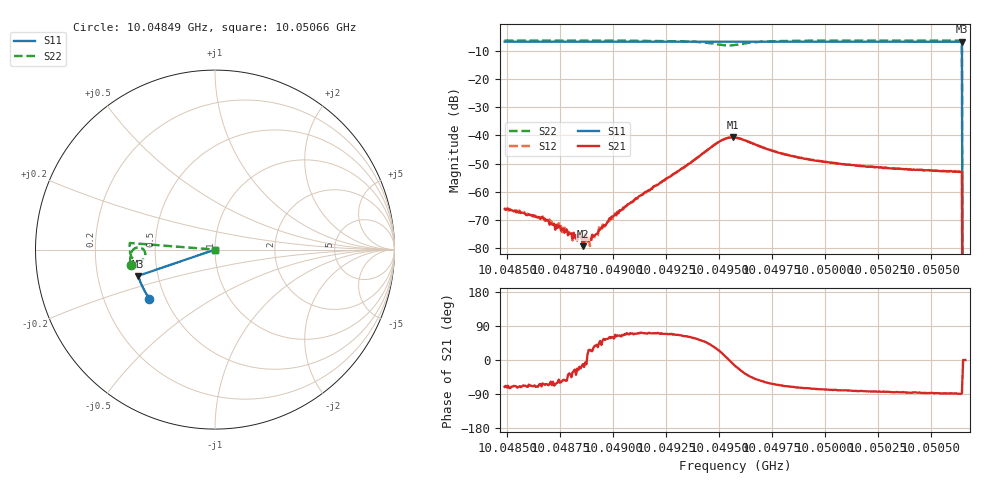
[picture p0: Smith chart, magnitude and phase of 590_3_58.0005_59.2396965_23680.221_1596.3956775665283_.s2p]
#  HZ  S  RI  R  50.00
! Rohde & Schwarz Vector Network Analyzer
! Rohde-Schwarz,ZNB20-2Port,1311601062101988,3.16
! Created: UTC 3/21/2024, 1:16:48 AM
! freq[Hz]  re:S11  im:S11  re:S21  im:S21  re:S12  im:S12  re:S22  im:S22
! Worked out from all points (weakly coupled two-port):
!   401 points, 10.04849 GHz to 10.05066 GHz, reference 50 ohm
!   highest |S21| = -40.75 dB at 10.04956 GHz (marker M1); lowest = -79.2 dB at 10.04886 GHz (marker M2)
!   lowest |S11| = -6.9 dB at 10.05065 GHz (marker M3), VSWR 2.65, Z = 19.3 - j7.1 ohm
!   |S11| at or under -10 dB: 10.05065 GHz to end of sweep
!   |S22| runs from - to -6.4 dB; largest |S21 - S12| = 0.00068
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1.0048486e10  -0.3654 -0.2729  0.000163 -0.00047  0.000165 -0.000476  -0.4692 -0.0864
1.0048617e10  -0.3704 -0.2656  0.000135 -0.000351  0.000184 -0.000331  -0.4704 -0.0767
1.0048693e10  -0.3732 -0.2616  0.000124 -0.000287  0.000187 -0.000261  -0.471 -0.0711
1.0048775e10  -0.376 -0.257  0.000119 -0.000168  0.000122 -0.000166  -0.4715 -0.0647
1.0048819e10  -0.3778 -0.2546  0.00014 -6.58e-05  0.000143 -0.000106  -0.4717 -0.0612
1.004884e10  -0.3785 -0.2533  0.000155 -5.03e-05  0.000151 -3.91e-05  -0.4718 -0.0593
1.0048851e10  -0.3789 -0.2527  0.000149 -4.24e-05  0.000145 -5.52e-05  -0.4719 -0.0585
1.0048857e10  -0.3789 -0.2524  0.000107 -2.02e-05  0.000115 -1.56e-05  -0.4718 -0.058
1.00489e10  -0.3805 -0.25  0.00016 6.88e-05  0.000145 6.38e-05  -0.4721 -0.0544
1.0048933e10  -0.3816 -0.2481  0.000149 0.000152  0.000169 0.000163  -0.472 -0.0517
1.0048944e10  -0.382 -0.2476  0.000179 0.000148  0.000153 0.000156  -0.4721 -0.0506
1.004902e10  -0.3846 -0.2433  0.000191 0.000404  0.000164 0.000371  -0.4718 -0.0437
1.0049216e10  -0.3909 -0.2319  0.000463 0.0013  0.000407 0.00133  -0.4688 -0.0222
1.0049499e10  -0.3991 -0.2151  0.00693 0.00323  0.00674 0.00365  -0.4044 0.00546
1.0049564e10  -0.4007 -0.2119  0.00905 -0.00151  0.00913 -0.00089  -0.3904 -0.0388
1.0049575e10  -0.401 -0.2113  0.00876 -0.00241  0.00897 -0.00177  -0.3941 -0.0462
1.0049793e10  -0.4078 -0.1988  0.00187 -0.0044  0.00214 -0.00432  -0.4641 -0.0424
1.004994e10  -0.4118 -0.19  0.000908 -0.00354  0.00111 -0.00349  -0.4722 -0.0229
1.0050305e10  -0.4208 -0.1677  0.000273 -0.0026  0.000419 -0.00261  -0.4755 0.011
1.0050637e10  -0.4279 -0.1471  2.36e-05 -0.00226  0.000184 -0.00227  -0.4746 0.0359
1.0050647e10  -0.428 -0.1464  8.84e-05 -0.00226  0.000173 -0.00225  -0.4745 0.0369
1.0050664e10  0 0  0 0  0 0  0 0
